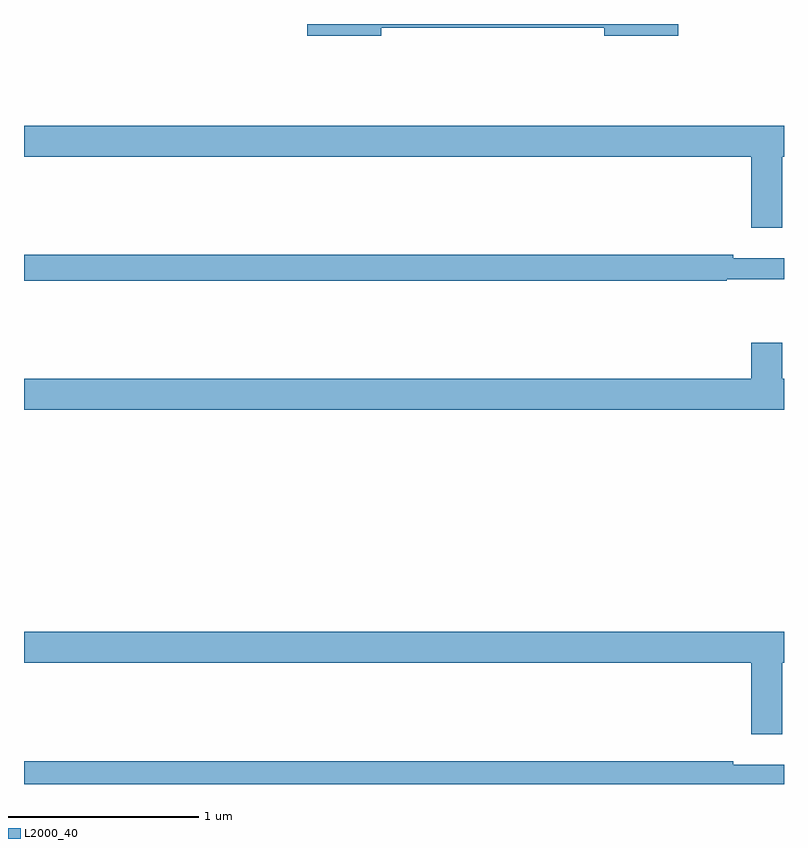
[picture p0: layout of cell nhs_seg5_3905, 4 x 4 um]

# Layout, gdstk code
import gdstk
lib = gdstk.Library(unit=1e-6, precision=1e-09)
def P(c, l, *ps):  # polygons
    for p in ps: c.add(gdstk.Polygon(p, *l))
L2000_40 = (2000, 40)

nhs_seg5_3905 = lib.new_cell('nhs_seg5_3905')
P(nhs_seg5_3905, L2000_40, [(342.88,850.78),(344.054,850.78),(344.054,850.738),(344.443,850.738),(344.443,850.799),(342.492,850.799),(342.492,850.738),(342.88,850.738)],
  [(344.992,850.1),(345,850.1),(345,850.264),(341,850.264),(341,850.1),(344.828,850.1),(344.828,849.726),(344.992,849.726)],
  [(344.698,849.456),(345,849.456),(345,849.565),(344.732,849.565),(344.732,849.584),(341,849.584),(341,849.448),(344.698,849.448)],
  [(345,848.932),(344.992,848.932),(344.992,849.121),(344.828,849.121),(344.828,848.932),(341,848.932),(341,848.768),(345,848.768)],
  [(344.992,847.436),(345,847.436),(345,847.6),(341,847.6),(341,847.436),(344.828,847.436),(344.828,847.062),(344.992,847.062)],
  [(345,846.901),(344.732,846.901),(344.732,846.92),(341,846.92),(341,846.799),(345,846.799)])

lib.write_gds('nhs_seg5_3905.gds')
